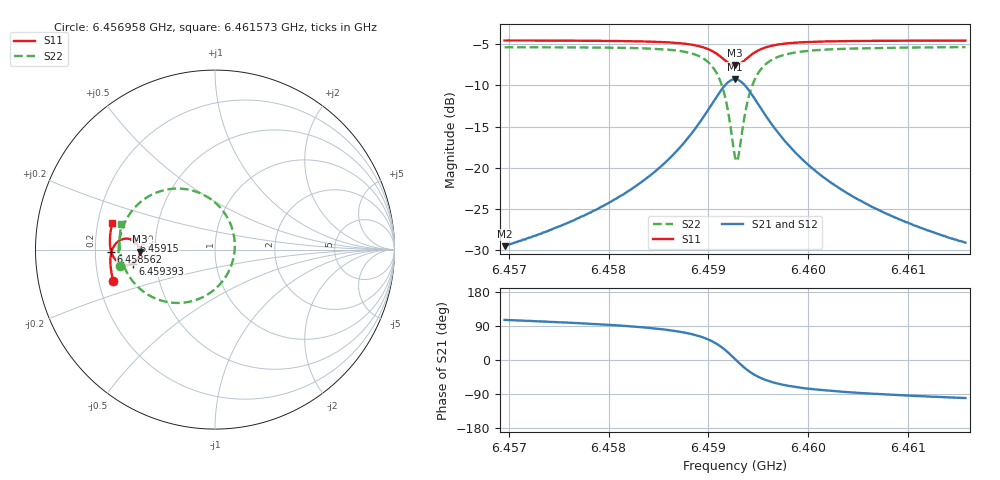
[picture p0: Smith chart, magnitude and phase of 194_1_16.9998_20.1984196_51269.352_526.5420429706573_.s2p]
#  HZ  S  RI  R  50.00
! Rohde & Schwarz Vector Network Analyzer
! Rohde-Schwarz,ZNB20-2Port,1311601062101988,3.16
! Created: UTC 3/20/2024, 11:00:46 PM
! freq[Hz]  re:S11  im:S11  re:S21  im:S21  re:S12  im:S12  re:S22  im:S22
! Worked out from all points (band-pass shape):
!   401 points, 6.456958 GHz to 6.461573 GHz, reference 50 ohm
!   highest |S21| = -9.26 dB at 6.459266 GHz (marker M1); lowest = -29.5 dB at 6.456958 GHz (marker M2)
!   |S21| within 3 dB of the highest: 6.459034 GHz to 6.459497 GHz (462 kHz wide, 0.00715 % of centre)
!   lowest |S11| = -7.6 dB at 6.459266 GHz (marker M3), VSWR 2.44, Z = 20.5 - j0.599 ohm
!   |S11| at or under -10 dB: nowhere
!   |S22| runs from -19.2 to -5.4 dB; largest |S21 - S12| = 0.013
!   S11 on the Smith chart (normalised r, x): 6.456958 GHz: 0.26, -0.14; 6.458562 GHz: 0.27, -0.01; 6.45915 GHz: 0.37, +0.05; 6.459393 GHz: 0.37, -0.07; 6.461573 GHz: 0.26, +0.12
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6.4569584e9  -0.5658 -0.1748  -0.00909 0.0322  -0.00736 0.0324  -0.5311 -0.089
6.4577314e9  -0.5802 -0.1074  -0.00588 0.0503  -0.00345 0.0497  -0.537 0.00109
6.4581582e9  -0.5832 -0.0647  -0.000127 0.0696  0.00314 0.0683  -0.5295 0.0685
6.4585043e9  -0.5797 -0.0234  0.0135 0.0987  0.0176 0.096  -0.5046 0.1464
6.458562e9  -0.5778 -0.0154  0.0179 0.1054  0.022 0.1023  -0.4967 0.1631
6.4587696e9  -0.565 0.0168  0.0453 0.1379  0.0495 0.133  -0.4457 0.236
6.4589196e9  -0.5424 0.0432  0.0903 0.1686  0.0935 0.162  -0.3627 0.3009
6.4590581e9  -0.4987 0.0608  0.1774 0.1855  0.1783 0.1782  -0.2039 0.3403
6.4591503e9  -0.4541 0.0509  0.2672 0.1547  0.2676 0.1488  -0.0378 0.2906
6.4592196e9  -0.425 0.0189  0.3278 0.0832  0.3299 0.0779  0.0778 0.1621
6.4592657e9  -0.4181 -0.012  0.3442 0.0153  0.348 0.00846  0.1102 0.0358
6.4592772e9  -0.4185 -0.02  0.3441 -0.00232  0.3479 -0.00985  0.1099 0.00245
6.4593003e9  -0.4219 -0.0357  0.3386 -0.0368  0.3425 -0.0459  0.099 -0.0632
6.4593465e9  -0.4375 -0.0618  0.3103 -0.0967  0.3127 -0.1085  0.0422 -0.176
6.4593926e9  -0.4594 -0.0779  0.2686 -0.1377  0.2679 -0.1509  -0.0423 -0.2508
6.4594849e9  -0.5027 -0.0849  0.1843 -0.169  0.1782 -0.1805  -0.21 -0.2974
6.4596349e9  -0.5465 -0.0645  0.0966 -0.1556  0.0884 -0.1618  -0.377 -0.2489
6.4598079e9  -0.5691 -0.0351  0.0497 -0.1262  0.0424 -0.1289  -0.461 -0.1731
6.4600386e9  -0.581 -0.00145  0.0226 -0.0968  0.017 -0.0974  -0.5055 -0.0957
6.4603963e9  -0.5856 0.0409  0.00617 -0.0695  0.00235 -0.0691  -0.5279 -0.0147
6.4608116e9  -0.5838 0.0824  -0.00119 -0.0517  -0.00404 -0.051  -0.532 0.0513
6.461573e9  -0.5717 0.1498  -0.00634 -0.0346  -0.00802 -0.0336  -0.5211 0.1411
